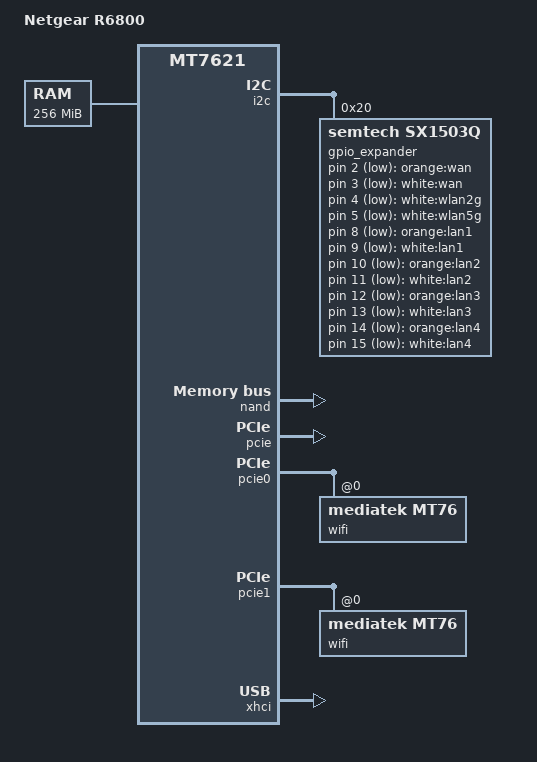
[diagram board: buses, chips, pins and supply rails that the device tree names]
/dts-v1/;

#include "mt7621.dtsi"
#include <dt-bindings/gpio/gpio.h>


/ {
	compatible = "netgear,r6800", "mediatek,mt7621-soc";
	model = "Netgear R6800";

	memory@0 {
		device_type = "memory";
		reg = <0x0 0x10000000>;
	};

	chosen {
		bootargs = "console=ttyS0,57600";
	};

	leds: leds {
		compatible = "gpio-leds";

		wan_orange {
			gpios = <&gpio_expander 2 GPIO_ACTIVE_LOW>;
			label = "orange:wan";
		};

		wan_white {
			gpios = <&gpio_expander 3 GPIO_ACTIVE_LOW>;
			label = "white:wan";
		};

		wlan2g {
			gpios = <&gpio_expander 4 GPIO_ACTIVE_LOW>;
			label = "white:wlan2g";
			linux,default-trigger = "phy0radio";
		};

		wlan5g {
			gpios = <&gpio_expander 5 GPIO_ACTIVE_LOW>;
			label = "white:wlan5g";
			linux,default-trigger = "phy1radio";
		};

		lan1_orange {
			gpios = <&gpio_expander 8 GPIO_ACTIVE_LOW>;
			label = "orange:lan1";
		};

		lan1_white {
			gpios = <&gpio_expander 9 GPIO_ACTIVE_LOW>;
			label = "white:lan1";
		};

		lan2_orange {
			gpios = <&gpio_expander 10 GPIO_ACTIVE_LOW>;
			label = "orange:lan2";
		};

		lan2_white {
			gpios = <&gpio_expander 11 GPIO_ACTIVE_LOW>;
			label = "white:lan2";
		};

		lan3_orange {
			gpios = <&gpio_expander 12 GPIO_ACTIVE_LOW>;
			label = "orange:lan3";
		};

		lan3_white {
			gpios = <&gpio_expander 13 GPIO_ACTIVE_LOW>;
			label = "white:lan3";
		};

		lan4_orange {
			gpios = <&gpio_expander 14 GPIO_ACTIVE_LOW>;
			label = "orange:lan4";
		};

		lan4_white {
			gpios = <&gpio_expander 15 GPIO_ACTIVE_LOW>;
			label = "white:lan4";
		};

	};
};

&i2c {
	status = "okay";

	gpio_expander: i2c0gpio-expander@20{
		#gpio-cells = <2>;
		#interrupt-cells = <2>;
		compatible = "semtech,sx1503q";
		reg = <0x20>;

		gpio-controller;
	};
};


&nand {
	status = "okay";

	partitions {
		compatible = "fixed-partitions";
		#address-cells = <1>;
		#size-cells = <1>;

		partition@0 {
			label = "u-boot";
			reg = <0x0 0x100000>;
			read-only;
		};

		partition@100000 {
			label = "SC PART_MAP";
			reg = <0x100000 0x100000>;
			read-only;
		};

		partition@200000 {
			label = "linux";
			reg = <0x200000 0x2c00000>;
		};

		partition@600000 {
			label = "ubi";
			reg = <0x600000 0x2800000>;
		};

		partition@2e00000 {
			label = "ddwrt";
			reg = <0x2e00000 0x1800000>;
		};

		factory: partition@4600000 {
			label = "factory";
			reg = <0x4600000 0x200000>;
			read-only;
		};
		
		partition@4800000 {
			label = "nvram";
			reg = <0x4800000 0x200000>;
		};

		partition@4A00000 {
			label = "reserved1";
			reg = <0x4A00000 0x3600000>;
			read-only;
		};
	};
};

&pcie {
	status = "okay";
};

&pcie0 {
	wifi@0,0 {
		compatible = "mediatek,mt76";
		reg = <0x0 0 0 0 0>;
		mediatek,mtd-eeprom = <&factory 0x0>;
		mediatek,disable_5ghz = <1>;
		ieee80211-freq-limit = <2400000 2500000>;
	};
};

&pcie1 {
	wifi@0,0 {
		compatible = "mediatek,mt76";
		reg = <0x0 0 0 0 0>;
		mediatek,mtd-eeprom = <&factory 0x8000>;
		mediatek,disable_2ghz = <1>;
		ieee80211-freq-limit = <5000000 6000000>;
	};
};

&pinctrl {
	state_default: pinctrl0 {
		gpio {
			ralink,group = "uart3", "uart2", "jtag", "wdt";
			ralink,function = "gpio";
		};
	};
};

&xhci {
	status = "okay";
};

